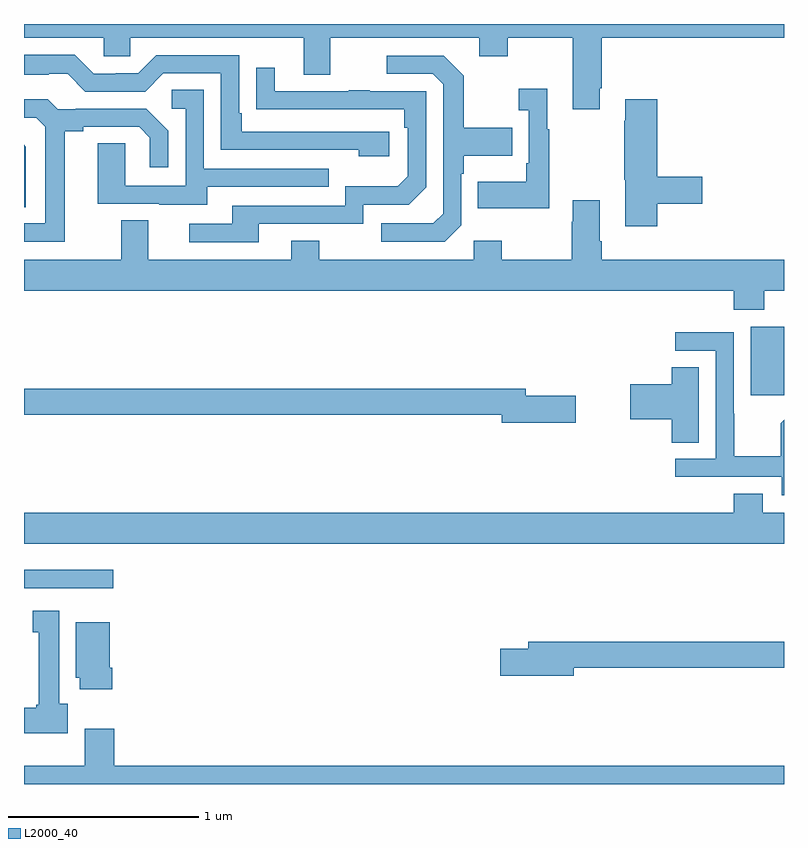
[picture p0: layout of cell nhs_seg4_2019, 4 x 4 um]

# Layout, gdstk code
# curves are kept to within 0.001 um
import gdstk
lib = gdstk.Library(unit=1e-6, precision=1e-09)
def R(c, l, rs):  # rectangles x0, y0, x1, y1
    for r in rs: c.add(gdstk.rectangle(r[:2], r[2:], *l))
def P(c, l, *ps):  # polygons
    for p in ps: c.add(gdstk.Polygon(p, *l))
L2000_40 = (2000, 40)

nhs_seg4_2019 = lib.new_cell('nhs_seg4_2019')
R(nhs_seg4_2019, L2000_40, [(215,785.931,215.47,786.028), (218.825,786.945,219,787.306)])
P(nhs_seg4_2019, L2000_40, [(218.029,788.563),(218.042,788.563),(218.042,788.828),(219,788.828),(219,788.9),(215,788.9),(215,788.828),(215.421,788.828),(215.421,788.73),(215.559,788.73),(215.559,788.828),(216.473,788.828),(216.473,788.634),(216.613,788.634),(216.613,788.828),(217.397,788.828),(217.397,788.729),(217.545,788.729),(217.545,788.828),(217.889,788.828),(217.889,788.451),(218.029,788.451)],
  [(216.922,788.334),(216.145,788.334),(216.145,788.431),(216.132,788.431),(216.132,788.736),(215.697,788.736),(215.601,788.64),(215.483,788.64),(215.483,788.637),(215.367,788.637),(215.267,788.737),(215,788.737),(215,788.633),(215.129,788.633),(215.129,788.637),(215.229,788.637),(215.322,788.544),(215.637,788.544),(215.733,788.64),(216.036,788.64),(216.036,788.238),(216.761,788.238),(216.761,788.204),(216.922,788.204)],
  [(217.302,787.842),(217.302,788.111),(217.315,788.111),(217.315,788.207),(217.571,788.207),(217.571,788.355),(217.315,788.355),(217.315,788.627),(217.209,788.733),(216.909,788.733),(216.909,788.637),(217.152,788.637),(217.206,788.583),(217.206,787.902),(217.155,787.851),(216.879,787.851),(216.879,787.755),(217.215,787.755)],
  [(216.235,787.848),(216.786,787.848),(216.786,787.95),(217.026,787.95),(217.116,788.04),(217.116,788.547),(216.821,788.547),(216.821,788.552),(216.709,788.552),(216.709,788.547),(216.319,788.547),(216.319,788.671),(216.223,788.671),(216.223,788.452),(217,788.451),(217,788.354),(217.02,788.354),(217.02,788.1),(216.967,788.047),(216.69,788.047),(216.69,787.944),(216.095,787.944),(216.095,787.848),(215.871,787.848),(215.871,787.752),(216.235,787.752)],
  [(217.765,788.347),(217.753,788.347),(217.753,788.56),(217.605,788.56),(217.605,788.447),(217.656,788.447),(217.656,788.167),(217.644,788.167),(217.644,788.071),(217.387,788.071),(217.387,787.931),(217.765,787.931)],
  [(215.965,788.043),(216.605,788.043),(216.605,788.139),(215.946,788.139),(215.946,788.555),(215.778,788.555),(215.778,788.454),(215.85,788.454),(215.85,788.049),(215.532,788.049),(215.532,788.273),(215.387,788.273),(215.387,787.953),(215.711,787.953),(215.711,787.949),(215.965,787.949)],
  [(218.333,787.954),(218.569,787.954),(218.569,788.096),(218.333,788.096),(218.333,788.503),(218.165,788.503),(218.165,788.39),(218.158,788.39),(218.158,788.079),(218.165,788.079),(218.165,787.836),(218.333,787.836)],
  [(215.215,788.336),(215.311,788.336),(215.311,788.358),(215.606,788.358),(215.663,788.301),(215.663,788.145),(215.76,788.145),(215.76,788.338),(215.644,788.454),(215.272,788.454),(215.272,788.451),(215.178,788.451),(215.126,788.503),(215,788.503),(215,788.406),(215.064,788.406),(215.111,788.359),(215.111,787.851),(215.001,787.851),(215.001,787.755),(215.215,787.755)],
  [(215.01,788.254),(215,788.264),(215,787.936),(215.01,787.936)],
  [(218.895,787.496),(219,787.496),(219,787.66),(218.042,787.66),(218.042,787.756),(218.029,787.756),(218.029,787.972),(217.889,787.972),(217.889,787.859),(217.882,787.859),(217.882,787.66),(217.515,787.66),(217.515,787.759),(217.368,787.759),(217.368,787.66),(216.555,787.66),(216.555,787.759),(216.407,787.759),(216.407,787.66),(215.653,787.66),(215.653,787.868),(215.513,787.868),(215.513,787.66),(215,787.66),(215,787.496),(218.735,787.496),(218.735,787.397),(218.895,787.397)],
  [(219,786.816),(218.983,786.799),(218.983,786.625),(218.739,786.625),(218.739,786.848),(218.736,786.848),(218.736,787.278),(218.427,787.278),(218.427,787.179),(218.64,787.179),(218.64,786.612),(218.427,786.612),(218.427,786.516),(218.988,786.516),(218.988,786.419),(219,786.419)],
  [(218.551,787.094),(218.408,787.094),(218.408,787.004),(218.19,787.004),(218.19,786.821),(218.408,786.821),(218.408,786.697),(218.551,786.697)],
  [(217.903,786.944),(217.642,786.944),(217.642,786.98),(215,786.98),(215,786.844),(217.514,786.844),(217.514,786.802),(217.903,786.802)],
  [(219,786.328),(218.887,786.328),(218.887,786.427),(218.735,786.427),(218.735,786.328),(215,786.328),(215,786.164),(219,786.164)],
  [(215.23,785.322),(215.185,785.322),(215.185,785.812),(215.045,785.812),(215.045,785.699),(215.078,785.699),(215.078,785.316),(215.065,785.316),(215.065,785.302),(215,785.302),(215,785.168),(215.23,785.168)],
  [(215.465,785.512),(215.452,785.512),(215.452,785.752),(215.273,785.752),(215.273,785.46),(215.294,785.46),(215.294,785.4),(215.465,785.4)],
  [(217.894,785.512),(219,785.512),(219,785.648),(217.655,785.648),(217.655,785.612),(217.506,785.612),(217.506,785.47),(217.894,785.47)],
  [(219,784.996),(215.474,784.996),(215.474,785.191),(215.321,785.191),(215.321,784.996),(215,784.996),(215,784.9),(219,784.9)])

lib.write_gds('nhs_seg4_2019.gds')
